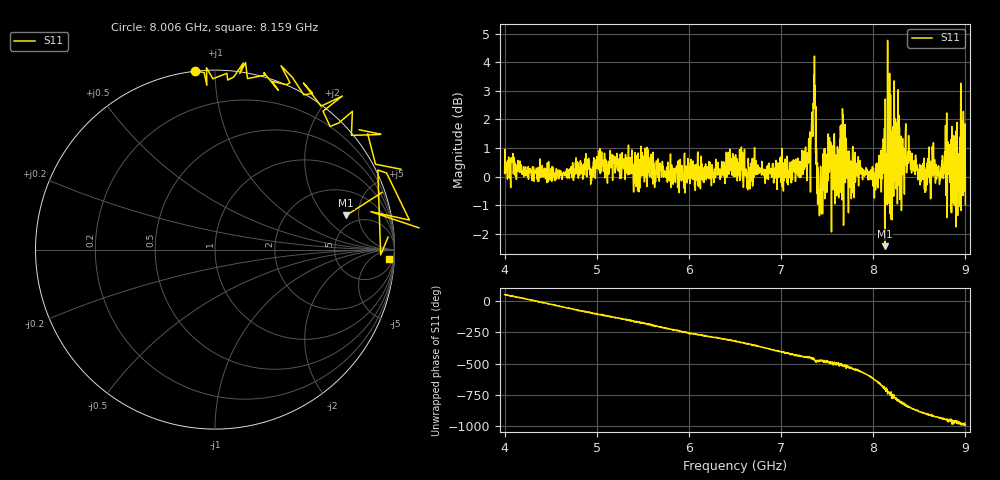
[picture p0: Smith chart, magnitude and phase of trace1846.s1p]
! Created with skrf 1.8.0 (http://scikit-rf.org).
# Hz S RI R 50.0
!freq ReS11 ImS11
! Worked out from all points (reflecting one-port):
!   1601 points, 4 GHz to 9 GHz, reference 50 ohm
!   lowest |S11| = -2.4 dB at 8.125 GHz (marker M1), VSWR 7.16, Z = 197 + j175 ohm
!   phase of S11 starts at 52 deg and turns -1041 deg over the sweep
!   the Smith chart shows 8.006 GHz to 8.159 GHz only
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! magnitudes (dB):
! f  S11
! 4 GHz  0.1
! 4.625 GHz  -0.1
! 5.25 GHz  -0.1
! 5.875 GHz  0.2
! 6.5 GHz  0.4
! 6.644 GHz  0.6
! 7.125 GHz  0.4
! 7.297 GHz  0.6
! 7.353 GHz  2.4
! 7.381 GHz  0.4
! 7.4 GHz  0.0
! 7.428 GHz  0.4
! 7.512 GHz  1.5
! 7.609 GHz  0.2
! 7.669 GHz  2.0
! 7.75 GHz  -0.4
! 8.031 GHz  0.4
! 8.125 GHz  -2.4
! 8.178 GHz  3.6
! 8.197 GHz  0.9
! 8.253 GHz  1.1
! 8.312 GHz  0.9
! 8.375 GHz  0.7
! 8.556 GHz  -0.4
! 8.834 GHz  1.0
! 8.875 GHz  1.2
! 8.972 GHz  0.2
! 9 GHz  -1.0
